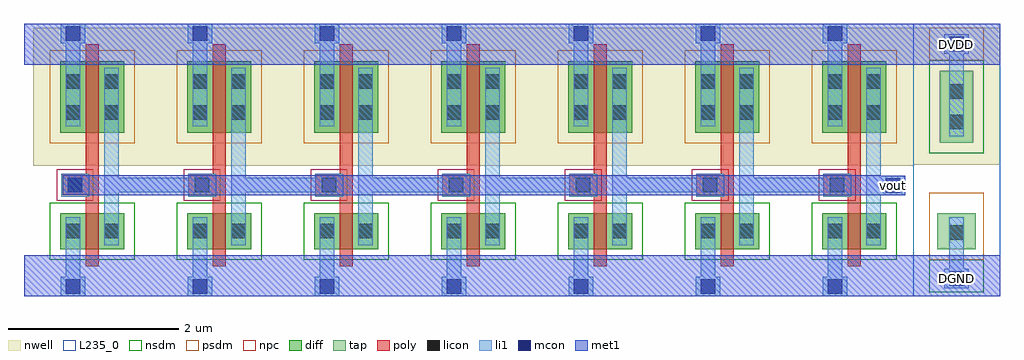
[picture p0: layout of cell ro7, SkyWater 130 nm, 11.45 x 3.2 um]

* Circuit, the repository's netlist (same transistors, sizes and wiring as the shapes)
** sch_path: /home/ee24s053/ee5311-2025/tut5/ro7/sim/post-layout/ro7.sch
.subckt ro7 DVDD vout DGND
*.PININFO DVDD:B DGND:B vout:O
x1 DVDD net1 vout DGND inv
x2 DVDD net2 net1 DGND inv
x3 DVDD net3 net2 DGND inv
x4 DVDD net4 net3 DGND inv
x5 DVDD net5 net4 DGND inv
x6 DVDD net6 net5 DGND inv
x7 DVDD vout net6 DGND inv
.ends

* expanding   symbol:  /home/ee24s053/ee5311-2025/tut5/inv/cell/subcircuit/inv.sym # of pins=4
** sym_path: /home/ee24s053/ee5311-2025/tut5/inv/cell/subcircuit/inv.sym
** sch_path: /home/ee24s053/ee5311-2025/tut5/inv/cell/subcircuit/inv.sch
.subckt inv DVDD OUT IN DGND
*.PININFO DVDD:B DGND:B OUT:O IN:I
XM1 OUT IN DVDD DVDD sky130_fd_pr__pfet_01v8 L=0.15 W=0.84 nf=1 m=1
XM2 OUT IN DGND DGND sky130_fd_pr__nfet_01v8 L=0.15 W=0.42 nf=1 m=1
.ends

.end

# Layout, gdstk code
import gdstk
lib = gdstk.Library(unit=1e-6, precision=1e-09)
def R(c, l, rs):  # rectangles x0, y0, x1, y1
    for r in rs: c.add(gdstk.rectangle(r[:2], r[2:], *l))
def A(c, l, x, y, w, h, nx, ny, dx, dy):  # array of equal rectangles
    R(c, l, [(x+i*dx, y+j*dy, x+i*dx+w, y+j*dy+h) for i in range(nx) for j in range(ny)])
nwell = (64, 20)
diff = (65, 20)
tap = (65, 44)
poly = (66, 20)
licon = (66, 44)
li1 = (67, 20)
mcon = (67, 44)
met1 = (68, 20)
nsdm = (93, 44)
psdm = (94, 20)
npc = (95, 20)
L235_0 = (235, 0)

vias_gen = lib.new_cell('vias_gen')
R(vias_gen, li1, [(0,0,0.29,0.23)])
R(vias_gen, mcon, [(0.06,0.03,0.23,0.2)])
R(vias_gen, met1, [(0,0,0.29,0.23)])

tap_ = lib.new_cell('tap')
R(tap_, nwell, [(-1.455,0.92,-0.435,2.525)])
R(tap_, tap, [(-1.17,-0.07,-0.72,0.35), (-1.14,1.18,-0.75,2.02)])
R(tap_, licon, [(-1.03,0.04,-0.86,0.21), (-1.03,1.335,-0.86,1.505), (-1.03,1.695,-0.86,1.865)])
R(tap_, li1, [(-1.03,-0.3,-0.86,-0.025), (-1.03,-0.025,-0.86,0.305), (-1.03,1.255,-0.86,1.945), (-1.03,1.945,-0.86,2.25)])
R(tap_, met1, [(-1.455,-0.625,-0.435,-0.145), (-1.455,2.095,-0.435,2.575)])
R(tap_, nsdm, [(-1.265,-0.575,-0.625,-0.195), (-1.265,1.055,-0.625,2.145)])
R(tap_, psdm, [(-1.265,-0.195,-0.625,0.59), (-1.265,2.145,-0.625,2.525)])
R(tap_, L235_0, [(-1.455,-0.625,-0.435,2.575)])
tap_.add(gdstk.Reference(vias_gen, (-1.09,-0.53)))
tap_.add(gdstk.Reference(vias_gen, (-1.09,2.22)))

pfet_1 = lib.new_cell('pfet$1')
R(pfet_1, nwell, [(-0.315,-0.39,1.065,1.23)])
R(pfet_1, diff, [(0,0,0.75,0.84)])
R(pfet_1, poly, [(0.3,-0.2,0.45,1.04)])
R(pfet_1, licon, [(0.065,0.155,0.235,0.325), (0.515,0.155,0.685,0.325), (0.065,0.515,0.235,0.685), (0.515,0.515,0.685,0.685)])
R(pfet_1, li1, [(0.065,0.075,0.235,0.765), (0.515,0.075,0.685,0.765)])
R(pfet_1, psdm, [(-0.125,-0.125,0.875,0.965)])

nfet = lib.new_cell('nfet')
R(nfet, diff, [(0,0,0.75,0.42)])
R(nfet, poly, [(0.3,-0.2,0.45,0.62)])
R(nfet, licon, [(0.065,0.125,0.235,0.295), (0.515,0.125,0.685,0.295)])
R(nfet, li1, [(0.065,0.045,0.235,0.375), (0.515,0.045,0.685,0.375)])
R(nfet, nsdm, [(-0.125,-0.125,0.875,0.545)])

vias_gen_2 = lib.new_cell('vias_gen$2')
R(vias_gen_2, poly, [(0,0,0.33,0.27)])
R(vias_gen_2, licon, [(0.08,0.05,0.25,0.22)])
R(vias_gen_2, li1, [(0,0,0.33,0.27)])
R(vias_gen_2, npc, [(-0.05,-0.05,0.38,0.32)])

vias_gen_5 = lib.new_cell('vias_gen$5')
R(vias_gen_5, li1, [(0,0,0.29,0.23)])
R(vias_gen_5, mcon, [(0.06,0.03,0.23,0.2)])
R(vias_gen_5, met1, [(0,0,0.29,0.23)])

inv_wo_tap = lib.new_cell('inv_wo_tap')
R(inv_wo_tap, poly, [(-1.775,0.425,-1.625,0.97)])
R(inv_wo_tap, li1, [(-2.01,-0.75,-1.84,-0.15), (-1.56,0.18,-1.39,1.245), (-2.01,1.935,-1.84,2.45)])
R(inv_wo_tap, met1, [(-2.5,-0.75,-1.01,-0.27), (-2.5,1.97,-1.01,2.45)])
inv_wo_tap.add(gdstk.Reference(pfet_1, (-2.075,1.17)))
inv_wo_tap.add(gdstk.Reference(nfet, (-2.075,-0.195)))
inv_wo_tap.add(gdstk.Reference(vias_gen_2, (-2.065,0.42)))
inv_wo_tap.add(gdstk.Reference(vias_gen_5, (-2.07,2.22)))
inv_wo_tap.add(gdstk.Reference(vias_gen_5, (-2.07,-0.75)))
inv_wo_tap.add(gdstk.Label('IN', (-1.86,0.54), layer=67, texttype=5))
inv_wo_tap.add(gdstk.Label('OUT', (-1.525,0.565), layer=67, texttype=5))
inv_wo_tap.add(gdstk.Label('DVDD', (-1.93,2.335), layer=68, texttype=5))
inv_wo_tap.add(gdstk.Label('DGND', (-1.93,-0.64), layer=68, texttype=5))

vias_gen_4 = lib.new_cell('vias_gen$4')
R(vias_gen_4, li1, [(0,0,0.29,0.23)])
R(vias_gen_4, mcon, [(0.06,0.03,0.23,0.2)])
R(vias_gen_4, met1, [(0,0,0.29,0.23)])

ro7 = lib.new_cell('ro7')
A(ro7, nwell, -8.495, 0.745, 0.11, 1.62, 6, 1, 1.49, 0)
A(ro7, li1, -8.875, 0.435, 0.895, 0.17, 6, 1, 1.49, 0)
R(ro7, met1, [(-9.24,0.4,0.065,0.635)])
ro7.add(gdstk.Reference(tap_, (1.9,-0.16)))
ro7.add(gdstk.Reference(inv_wo_tap, (1.455,-0.035)))
ro7.add(gdstk.Reference(inv_wo_tap, (-0.035,-0.035)))
ro7.add(gdstk.Reference(inv_wo_tap, (-1.525,-0.035)))
ro7.add(gdstk.Reference(inv_wo_tap, (-3.015,-0.035)))
ro7.add(gdstk.Reference(inv_wo_tap, (-4.505,-0.035)))
ro7.add(gdstk.Reference(inv_wo_tap, (-5.995,-0.035)))
ro7.add(gdstk.Reference(inv_wo_tap, (-7.485,-0.035)))
ro7.add(gdstk.Reference(vias_gen_4, (0.065,0.4)))
ro7.add(gdstk.Reference(vias_gen_4, (-9.53,0.405)))
ro7.add(gdstk.Label('vout', (0.22,0.515), layer=68, texttype=20))
ro7.add(gdstk.Label('DVDD', (0.95,2.175), layer=68, texttype=5))
ro7.add(gdstk.Label('DGND', (0.96,-0.57), layer=68, texttype=5))

lib.write_gds('ro7.gds')
